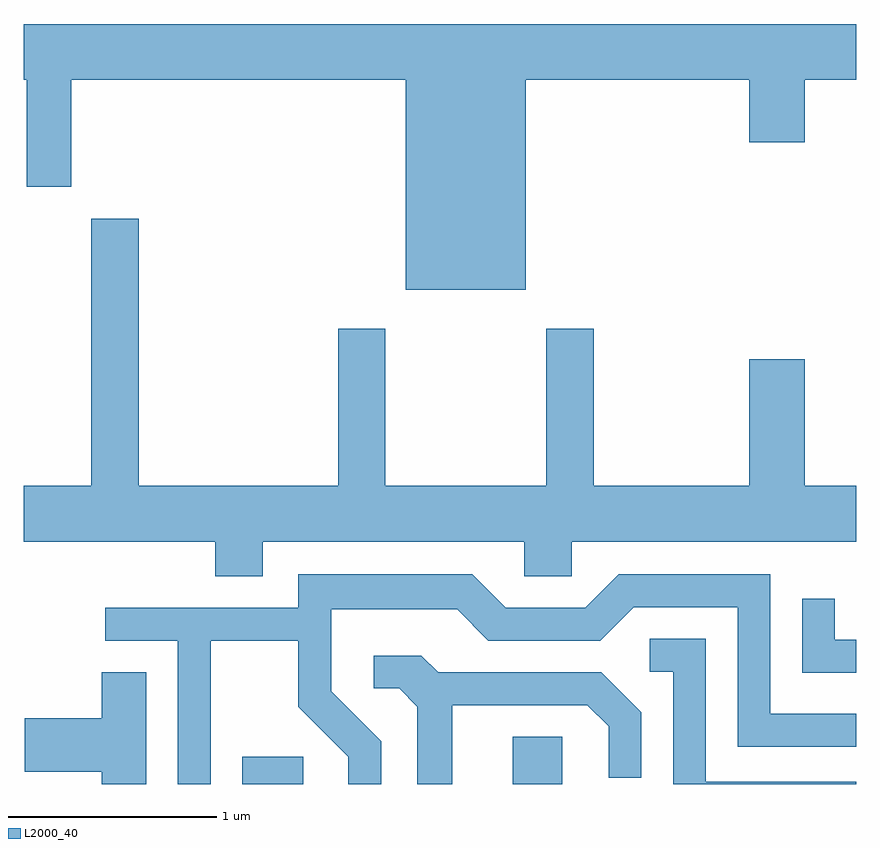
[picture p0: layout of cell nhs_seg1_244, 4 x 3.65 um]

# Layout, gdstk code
import gdstk
lib = gdstk.Library(unit=1e-6, precision=1e-09)
def R(c, l, rs):  # rectangles x0, y0, x1, y1
    for r in rs: c.add(gdstk.rectangle(r[:2], r[2:], *l))
def P(c, l, *ps):  # polygons
    for p in ps: c.add(gdstk.Polygon(p, *l))
L2000_40 = (2000, 40)

nhs_seg1_244 = lib.new_cell('nhs_seg1_244')
R(nhs_seg1_244, L2000_40, [(192.661,931.712,192.954,931.844), (193.961,931.712,194.199,931.939)])
P(nhs_seg1_244, L2000_40, [(194.024,935.096),(195.096,935.096),(195.096,934.796),(195.364,934.796),(195.364,935.096),(195.611,935.096),(195.611,935.364),(191.611,935.364),(191.611,935.096),(191.626,935.096),(191.626,934.581),(191.839,934.581),(191.839,935.096),(193.446,935.096),(193.446,934.086),(194.024,934.086)],
  [(192.759,932.876),(194.016,932.876),(194.016,932.711),(194.244,932.711),(194.244,932.876),(195.611,932.876),(195.611,933.144),(195.364,933.144),(195.364,933.754),(195.096,933.754),(195.096,933.144),(194.349,933.144),(194.349,933.899),(194.121,933.899),(194.121,933.144),(193.349,933.144),(193.349,933.899),(193.121,933.899),(193.121,933.144),(192.164,933.144),(192.164,934.429),(191.936,934.429),(191.936,933.144),(191.611,933.144),(191.611,932.876),(192.531,932.876),(192.531,932.711),(192.759,932.711)],
  [(192.509,932.401),(192.931,932.401),(192.931,932.084),(193.171,931.844),(193.171,931.712),(193.329,931.712),(193.329,931.917),(193.089,932.157),(193.089,932.551),(193.694,932.551),(193.844,932.401),(194.382,932.401),(194.542,932.561),(195.041,932.561),(195.041,931.891),(195.611,931.891),(195.611,932.049),(195.199,932.049),(195.199,932.719),(194.469,932.719),(194.309,932.559),(193.927,932.559),(193.767,932.719),(192.931,932.719),(192.931,932.559),(192.003,932.559),(192.003,932.401),(192.351,932.401),(192.351,931.712),(192.509,931.712)],
  [(195.611,932.404),(195.509,932.404),(195.509,932.603),(195.351,932.603),(195.351,932.246),(195.611,932.246)],
  [(195.611,931.724),(194.889,931.724),(194.889,932.409),(194.618,932.409),(194.618,932.251),(194.731,932.251),(194.731,931.712),(195.611,931.712)],
  [(193.669,932.091),(194.319,932.091),(194.421,931.989),(194.421,931.743),(194.579,931.743),(194.579,932.057),(194.387,932.249),(193.602,932.249),(193.522,932.329),(193.293,932.329),(193.293,932.171),(193.414,932.171),(193.501,932.084),(193.501,931.712),(193.669,931.712)],
  [(192.199,932.249),(191.986,932.249),(191.986,932.029),(191.616,932.029),(191.616,931.771),(191.986,931.771),(191.986,931.712),(192.199,931.712)])

lib.write_gds('nhs_seg1_244.gds')
